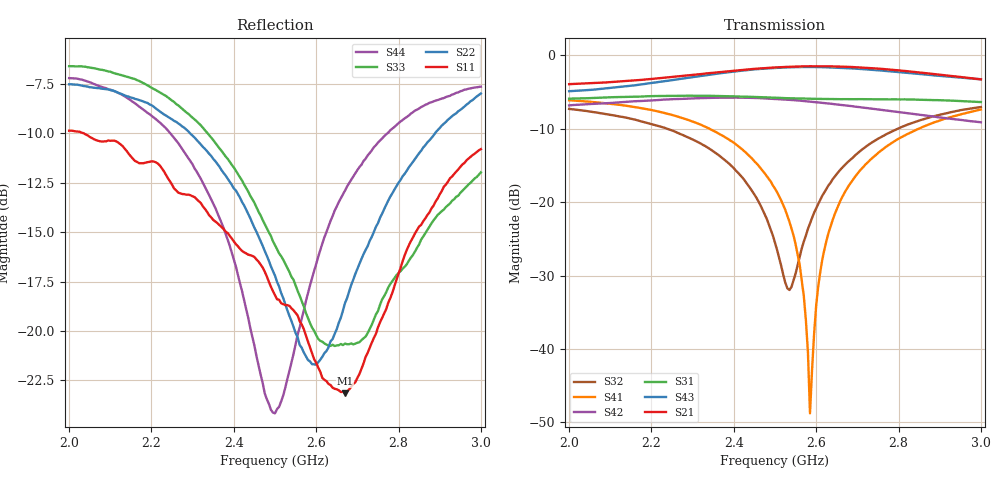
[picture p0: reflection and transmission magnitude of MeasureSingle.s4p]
#  HZ  S  RI  R  50.00
! Rohde & Schwarz Vector Network Analyzer
! Rohde-Schwarz,ZNBT8-20Port,1318700624101530,3.45
! Created: UTC 9/9/2023, 5:48:10 PM
! freq[Hz]  re:S11  im:S11  re:S12  im:S12  re:S13  im:S13  re:S14  im:S14
!  re:S21  im:S21  re:S22  im:S22  re:S23  im:S23  re:S24  im:S24
!  re:S31  im:S31  re:S32  im:S32  re:S33  im:S33  re:S34  im:S34
!  re:S41  im:S41  re:S42  im:S42  re:S43  im:S43  re:S44  im:S44
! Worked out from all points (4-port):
!   201 points, 2 GHz to 3 GHz, reference 50 ohm
!   strongest paths, dB at 2 GHz, 2.25 GHz, 2.5 GHz, 2.75 GHz, 3 GHz:
!     S21: -3.9, -3.0, -1.7, -1.8, -3.3
!     S43: -4.9, -3.4, -1.7, -2.1, -3.3
!     S31: -5.9, -5.5, -5.8, -6.0, -6.4
!     S42: -6.8, -6.0, -5.9, -7.4, -9.1
!     S41: -6.1, -8.1, -18.2, -13.3, -7.4
!     S32: -7.3, -10.2, -25.5, -11.4, -7.1
!   lowest |S11| = -23.2 dB at 2.67 GHz (marker M1), VSWR 1.15, Z = 52.4 + j6.71 ohm
!   |S11| at or under -10 dB: 2.035 GHz to end of sweep
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2e9  0.1576 0.2797  0.4939 0.4013  0.5064 -0.0131  -0.4938 -0.00976
     0.4934 0.4006  0.2833 0.3111  -0.4301 0.0282  0.455 -0.0266
     0.5062 -0.0127  -0.4302 0.0273  0.1576 0.4402  -0.1217 0.556
     -0.4937 -0.01  0.455 -0.0262  -0.121 0.5558  0.1362 0.4143
2.47e9  0.1234 0.0756  0.59 -0.5629  -0.0164 -0.5168  0.00334 0.164
        0.5901 -0.5627  0.1642 -0.0048  0.0236 0.085  -0.0764 -0.5037
        -0.0153 -0.5171  0.0236 0.0853  0.1878 0.0342  0.6715 0.4518
        0.00347 0.1639  -0.0759 -0.504  0.6717 0.4518  0.0366 -0.0643
2.56e9  0.0875 0.0594  0.3777 -0.7498  -0.1611 -0.4814  0.0173 0.0334
        0.377 -0.7492  0.0886 0.0254  0.0128 -0.0403  -0.2349 -0.4307
        -0.1599 -0.4816  0.0127 -0.0401  0.1173 0.0362  0.7977 0.2325
        0.0173 0.0331  -0.2341 -0.431  0.7979 0.2318  -0.1004 -0.0186
2.585e9  0.0706 0.0571  0.303 -0.7851  -0.1983 -0.4648  0.00364 -0.000474
         0.3029 -0.785  0.0724 0.042  -0.00471 -0.0716  -0.2707 -0.4006
         -0.1978 -0.4656  -0.00466 -0.0716  0.0969 0.0397  0.8153 0.1627
         0.00364 -0.000194  -0.2701 -0.4013  0.8156 0.1621  -0.1303 0.00568
2.61e9  0.0592 0.052  0.2251 -0.8106  -0.2334 -0.4468  -0.0138 -0.0308
        0.2251 -0.8115  0.0604 0.0592  -0.0281 -0.0999  -0.3017 -0.3675
        -0.2325 -0.4474  -0.0281 -0.0999  0.0835 0.0441  0.8247 0.0923
        -0.014 -0.0304  -0.3015 -0.3678  0.825 0.0919  -0.156 0.0367
2.67e9  0.0277 0.0637  0.0311 -0.8342  -0.3128 -0.3927  -0.0797 -0.086
        0.0302 -0.8338  0.0393 0.1108  -0.1053 -0.1447  -0.3581 -0.2814
        -0.3123 -0.3934  -0.1051 -0.1451  0.0563 0.0739  0.8145 -0.0725
        -0.0798 -0.0861  -0.3578 -0.2817  0.815 -0.0733  -0.1924 0.1194
3e9  0.0602 0.282  -0.6177 -0.2959  -0.4687 0.1036  -0.4041 0.1372
     -0.6181 -0.2955  0.2477 0.3125  -0.4231 0.1333  -0.3227 0.1338
     -0.4688 0.1029  -0.4234 0.1326  0.0736 0.2409  0.361 -0.5838
     -0.4045 0.1366  -0.323 0.1336  0.3609 -0.5841  0.0138 0.4147
